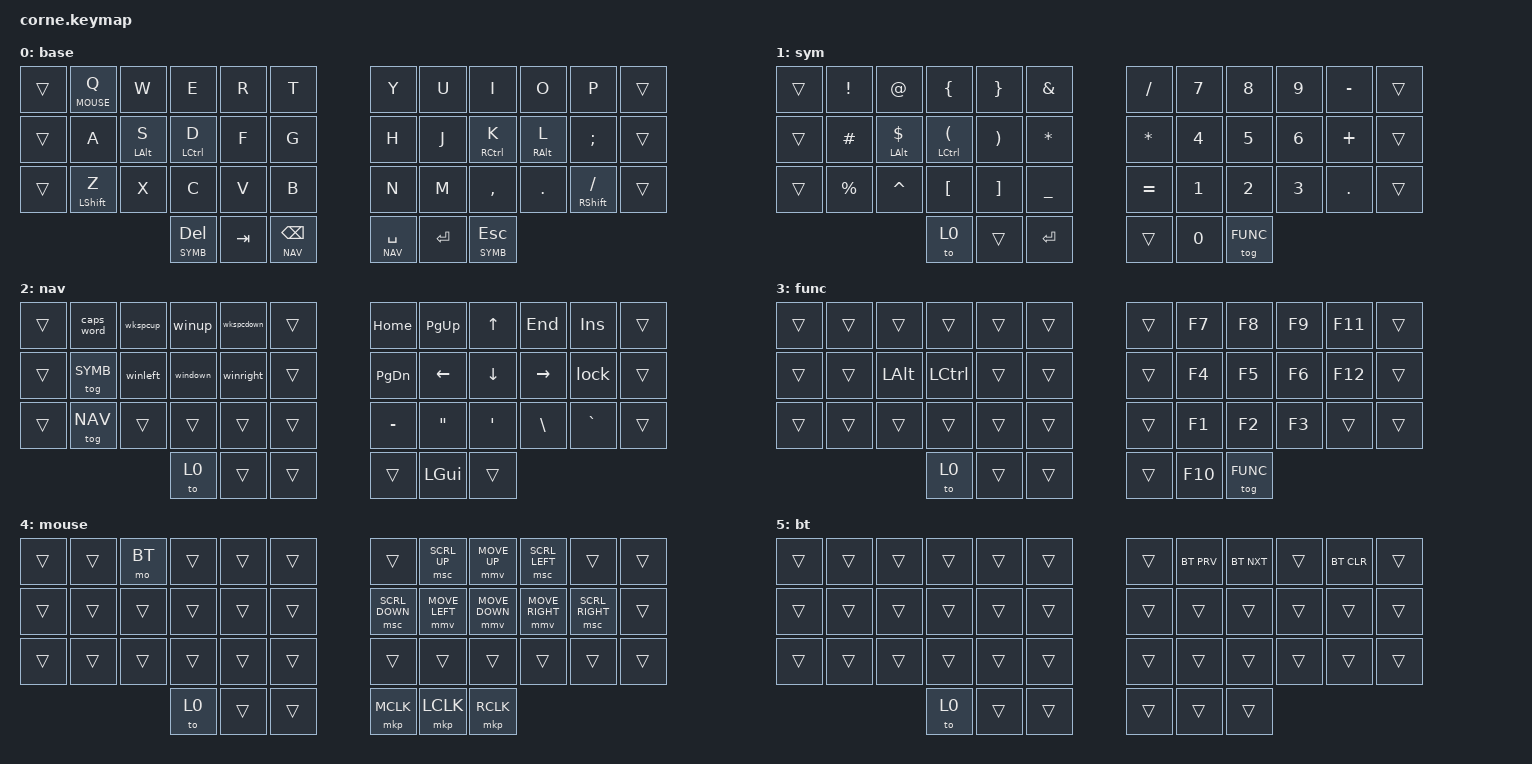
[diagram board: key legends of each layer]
 /*
 * Copyright (c) 2020 The ZMK Contributors
 *
 * SPDX-License-Identifier: MIT
 */

#include <behaviors.dtsi>
#include <dt-bindings/zmk/keys.h>
#include <dt-bindings/zmk/bt.h>
#include <dt-bindings/zmk/pointing.h>

#undef ZMK_POINTING_DEFAULT_MOVE_VAL
#define ZMK_POINTING_DEFAULT_MOVE_VAL 1200  // default: 600
#undef ZMK_POINTING_DEFAULT_SCRL_VAL
#define ZMK_POINTING_DEFAULT_SCRL_VAL 20    // default: 10

#define BASE 0
#define SYMB 1
#define NAV 2
#define FUNC 3
#define MOUSE 4
#define BT 5

/ {
    behaviors {
        lt_quick_tap: layer_tap_quick_tap {
            compatible = "zmk,behavior-hold-tap";
            #binding-cells = <2>;
            flavor = "tap-preferred";
            tapping-term-ms = <200>;
            quick-tap-ms = <175>;
            bindings = <&mo>, <&kp>;
        };
        hm: homerow_mods {
            compatible = "zmk,behavior-hold-tap";
            #binding-cells = <2>;
            tapping-term-ms = <200>;
            quick-tap-ms = <175>;
            flavor = "tap-preferred";
            bindings = <&kp>, <&kp>;
        };
    };
};

/ {
    macros {
        winright: winright {
            compatible = "zmk,behavior-macro";
            #binding-cells = <0>;
            bindings
                = <&macro_press &kp RCTRL &kp RGUI>
                , <&macro_tap &kp RIGHT>
                , <&macro_release &kp RCTRL &kp RGUI>
                ;
        };
        winup: winup {
            compatible = "zmk,behavior-macro";
            #binding-cells = <0>;
            bindings
                = <&macro_press &kp RCTRL &kp RGUI>
                , <&macro_tap &kp UP>
                , <&macro_release &kp RCTRL &kp RGUI>
                ;
        };
        windown: windown {
            compatible = "zmk,behavior-macro";
            #binding-cells = <0>;
            bindings
                = <&macro_press &kp RCTRL &kp RGUI>
                , <&macro_tap &kp DOWN>
                , <&macro_release &kp RCTRL &kp RGUI>
                ;
        };
        winleft: winleft {
            compatible = "zmk,behavior-macro";
            #binding-cells = <0>;
            bindings
                = <&macro_press &kp RCTRL &kp RGUI>
                , <&macro_tap &kp LEFT>
                , <&macro_release &kp RCTRL &kp RGUI>
                ;
        };
        wkspcup: wkspcup {
            compatible = "zmk,behavior-macro";
            #binding-cells = <0>;
            bindings
                = <&macro_press &kp RCTRL &kp RALT>
                , <&macro_tap &kp UP>
                , <&macro_release &kp RCTRL &kp RALT>
                ;
        };
        wkspcdown: wkspcdown {
            compatible = "zmk,behavior-macro";
            #binding-cells = <0>;
            bindings
                = <&macro_press &kp RCTRL &kp RALT>
                , <&macro_tap &kp DOWN>
                , <&macro_release &kp RCTRL &kp RALT>
                ;
        };
        lock: lock {
            compatible = "zmk,behavior-macro";
            #binding-cells = <0>;
            bindings
                = <&macro_press &kp LGUI>
                , <&macro_tap &kp L>
                , <&macro_release &kp LGUI>
                ;
        };
    };
};

/ {
        keymap {
                compatible = "zmk,keymap";

                base_layer {
                        display-name = "base";
                        bindings = <
   &trans &lt_quick_tap MOUSE Q &kp W &kp E &kp R &kp T   &kp Y &kp U  &kp I  &kp O  &kp P &trans
   &trans &kp A &hm LALT S &hm LCTRL D &kp F &kp G   &kp H &kp J  &hm RCTRL K  &hm RALT L   &kp SEMI &trans
   &trans &mt LSHFT Z &kp X &kp C &kp V &kp B   &kp N &kp M  &kp COMMA &kp DOT &mt RSHFT FSLH &trans
                  &lt SYMB DEL &kp TAB &lt_quick_tap NAV BKSP   &lt_quick_tap NAV SPACE &kp RET &lt SYMB ESC
                        >;
                };
                symb_layer {
                        display-name = "sym";
                        bindings = <
   &trans &kp EXCL  &kp AT  &kp LBRC  &kp RBRC  &kp AMPS   &kp FSLH  &kp N7  &kp N8  &kp N9 &kp MINUS &trans
   &trans &kp HASH &hm LALT DLLR &hm LCTL LPAR &kp RPAR &kp ASTRK   &kp ASTRK  &kp N4  &kp N5  &kp N6 &kp PLUS &trans
   &trans &kp PRCNT  &kp CARET &kp LBKT &kp RBKT &kp UNDER   &kp EQUAL  &kp N1  &kp N2  &kp N3  &kp DOT &trans
                  &to 0  &trans  &kp RET   &trans  &kp N0  &tog FUNC
                        >;
                };

                nav_layer {
                        display-name = "nav";
                        bindings = <
   &trans &caps_word  &wkspcup  &winup  &wkspcdown  &trans   &kp HOME  &kp PG_UP  &kp UP  &kp END &kp INS &trans
   &trans &tog SYMB &winleft &windown &winright &trans   &kp PG_DN  &kp LEFT  &kp DOWN  &kp RIGHT &lock &trans

   &trans &tog NAV &trans &trans &trans &trans   &kp MINUS  &kp DQT  &kp SQT  &kp BSLH  &kp GRAVE &trans
                  &to 0 &trans &trans   &trans  &kp LGUI &trans
                        >;
                };
                func_layer {
                        display-name = "func";
                        bindings = <
   &trans &trans &trans &trans &trans &trans   &trans &kp F7 &kp F8 &kp F9 &kp F11 &trans
   &trans &trans &kp LALT &kp LCTRL &trans &trans   &trans &kp F4 &kp F5 &kp F6 &kp F12 &trans
   &trans &trans &trans &trans &trans &trans   &trans &kp F1 &kp F2 &kp F3 &trans &trans
                  &to 0 &trans &trans   &trans &kp F10 &tog FUNC
                        >;
                };
                mouse_layer {
                        display-name = "mouse";
                        bindings = <
   &trans &trans &mo BT &trans &trans &trans   &trans &msc SCRL_UP &mmv MOVE_UP &msc SCRL_LEFT &trans &trans
   &trans &trans &trans &trans &trans &trans   &msc SCRL_DOWN &mmv MOVE_LEFT &mmv MOVE_DOWN &mmv MOVE_RIGHT &msc SCRL_RIGHT &trans
   &trans &trans &trans &trans &trans &trans   &trans &trans &trans &trans &trans &trans
                  &to 0 &trans &trans   &mkp MCLK &mkp LCLK &mkp RCLK
                         >;
                };
                bt_layer {
                        display-name = "bt";
                        bindings = <
   &trans &trans &trans &trans &trans &trans   &trans &bt BT_PRV &bt BT_NXT &trans &bt BT_CLR &trans
   &trans &trans &trans &trans &trans &trans   &trans &trans &trans &trans &trans &trans
   &trans &trans &trans &trans &trans &trans   &trans &trans &trans &trans &trans &trans
                  &to 0 &trans &trans   &trans &trans &trans
                        >;
                };
        };
};
